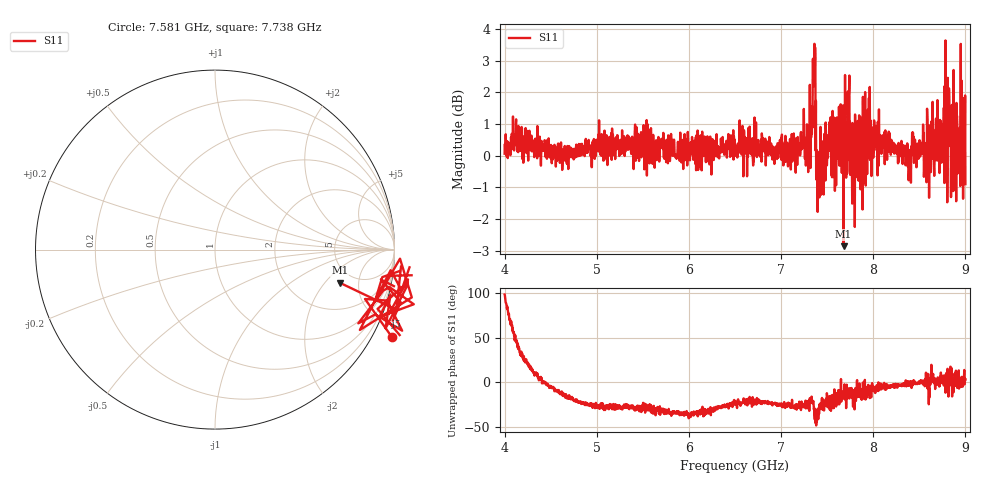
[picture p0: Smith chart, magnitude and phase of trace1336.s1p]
! Created with skrf 1.8.0 (http://scikit-rf.org).
# Hz S RI R 50.0
!freq ReS11 ImS11
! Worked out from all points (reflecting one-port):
!   1601 points, 4 GHz to 9 GHz, reference 50 ohm
!   lowest |S11| = -2.9 dB at 7.678 GHz (marker M1), VSWR 6.14, Z = 190 - j146 ohm
!   phase of S11 starts at 98 deg and turns -95 deg over the sweep
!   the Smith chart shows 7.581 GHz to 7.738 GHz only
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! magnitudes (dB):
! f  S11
! 4 GHz  0.1
! 4.103 GHz  0.2
! 4.625 GHz  -0.5
! 5.25 GHz  0.3
! 5.875 GHz  0.0
! 6.5 GHz  0.1
! 7.125 GHz  0.3
! 7.294 GHz  -0.5
! 7.316 GHz  -0.2
! 7.347 GHz  3.1
! 7.369 GHz  3.4
! 7.4 GHz  -0.1
! 7.409 GHz  -0.7
! 7.538 GHz  1.2
! 7.588 GHz  0.0
! 7.65 GHz  1.3
! 7.678 GHz  -2.9
! 7.75 GHz  -0.6
! 7.775 GHz  1.0
! 7.828 GHz  0.8
! 7.875 GHz  -0.1
! 7.928 GHz  1.4
! 8.375 GHz  -0.3
! 8.575 GHz  -0.4
! 8.809 GHz  2.5
! 8.869 GHz  -1.1
! 8.972 GHz  0.4
! 9 GHz  -0.9
